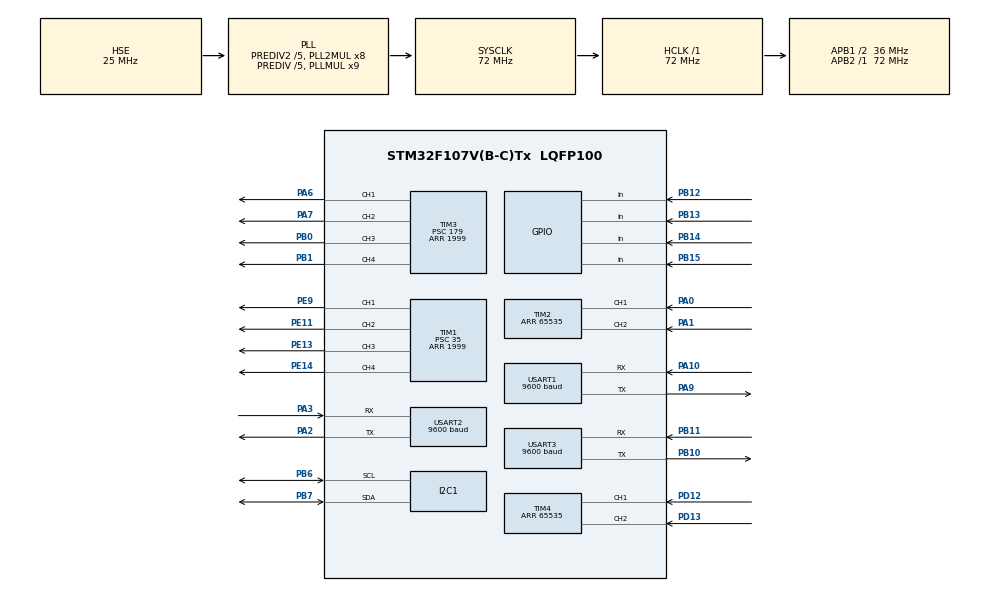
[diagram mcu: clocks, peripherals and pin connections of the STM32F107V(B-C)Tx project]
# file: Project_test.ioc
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I2C1.NoStretchMode=I2C_NOSTRETCH_DISABLE
Mcu.Family=STM32F1
Mcu.Name=STM32F107V(B-C)Tx
Mcu.Package=LQFP100
NVIC.PriorityGroup=NVIC_PRIORITYGROUP_4
NVIC.TIM6_IRQn=true\:1\:0\:true\:false\:true\:true
NVIC.TIM7_IRQn=true\:2\:0\:true\:false\:true\:true
NVIC.USART1_IRQn=true\:3\:0\:true\:false\:true\:true
NVIC.USART2_IRQn=true\:0\:0\:false\:false\:true\:true
NVIC.USART3_IRQn=true\:0\:0\:false\:false\:true\:true
OSC_IN.Mode=HSE-External-Oscillator
OSC_IN.Signal=RCC_OSC_IN
OSC_OUT.Mode=HSE-External-Oscillator
OSC_OUT.Signal=RCC_OSC_OUT
PA0-WKUP.Signal=S_TIM2_CH1_ETR
PA1.Signal=S_TIM2_CH2
PA10.Mode=Asynchronous
PA10.Signal=USART1_RX
PA13.Mode=Serial_Wire
PA13.Signal=SYS_JTMS-SWDIO
PA14.Mode=Serial_Wire
PA14.Signal=SYS_JTCK-SWCLK
PA2.Mode=Asynchronous
PA2.Signal=USART2_TX
PA3.Mode=Asynchronous
PA3.Signal=USART2_RX
PA6.Signal=S_TIM3_CH1
PA7.Signal=S_TIM3_CH2
PA9.Mode=Asynchronous
PA9.Signal=USART1_TX
PB0.Signal=S_TIM3_CH3
PB1.Signal=S_TIM3_CH4
PB10.Mode=Asynchronous
PB10.Signal=USART3_TX
PB11.Mode=Asynchronous
PB11.Signal=USART3_RX
PB12.Signal=GPIO_Input
PB13.Signal=GPIO_Input
PB14.Signal=GPIO_Input
PB15.Signal=GPIO_Input
PB6.GPIO_Mode=GPIO_MODE_AF_OD
PB6.GPIO_Speed=GPIO_SPEED_FREQ_LOW
PB6.Mode=I2C
PB6.Signal=I2C1_SCL
PB7.GPIO_Mode=GPIO_MODE_AF_OD
PB7.GPIO_Speed=GPIO_SPEED_FREQ_LOW
PB7.Mode=I2C
PB7.Signal=I2C1_SDA
PD12.Signal=S_TIM4_CH1
PD13.Signal=S_TIM4_CH2
PE11.Signal=S_TIM1_CH2
PE13.Signal=S_TIM1_CH3
PE14.Signal=S_TIM1_CH4
PE9.Signal=S_TIM1_CH1
ProjectManager.HeapSize=0x200
ProjectManager.StackSize=0x400
ProjectManager.TargetToolchain=MDK-ARM V5
RCC.AHBFreq_Value=72000000
RCC.APB1CLKDivider=RCC_HCLK_DIV2
RCC.APB1Freq_Value=36000000
RCC.APB1TimFreq_Value=72000000
RCC.APB2Freq_Value=72000000
RCC.APB2TimFreq_Value=72000000
RCC.HCLKFreq_Value=72000000
RCC.HSEDivPLL=RCC_HSE_PREDIV_DIV5
RCC.HSE_VALUE=25000000
RCC.PLLMUL=RCC_PLL_MUL9
RCC.PLLSourceVirtual=RCC_PLLSOURCE_HSE
RCC.Prediv1Source=RCC_PREDIV1_SOURCE_PLL2
RCC.Prediv2=RCC_HSE_PREDIV2_DIV5
RCC.SYSCLKFreq_VALUE=72000000
RCC.SYSCLKSource=RCC_SYSCLKSOURCE_PLLCLK
RCC.USBFreq_Value=48000000
SH.S_TIM1_CH1.0=TIM1_CH1,PWM Generation1 CH1
SH.S_TIM1_CH2.0=TIM1_CH2,PWM Generation2 CH2
SH.S_TIM1_CH3.0=TIM1_CH3,PWM Generation3 CH3
SH.S_TIM1_CH4.0=TIM1_CH4,PWM Generation4 CH4
SH.S_TIM2_CH1_ETR.0=TIM2_CH1,Encoder_Interface
SH.S_TIM2_CH2.0=TIM2_CH2,Encoder_Interface
SH.S_TIM3_CH1.0=TIM3_CH1,PWM Generation1 CH1
SH.S_TIM3_CH2.0=TIM3_CH2,PWM Generation2 CH2
SH.S_TIM3_CH3.0=TIM3_CH3,PWM Generation3 CH3
SH.S_TIM3_CH4.0=TIM3_CH4,PWM Generation4 CH4
SH.S_TIM4_CH1.0=TIM4_CH1,Encoder_Interface
SH.S_TIM4_CH2.0=TIM4_CH2,Encoder_Interface
TIM1.Channel-PWM\ Generation1\ CH1=TIM_CHANNEL_1
TIM1.Channel-PWM\ Generation2\ CH2=TIM_CHANNEL_2
TIM1.Channel-PWM\ Generation3\ CH3=TIM_CHANNEL_3
TIM1.Channel-PWM\ Generation4\ CH4=TIM_CHANNEL_4
TIM1.Period=1999
TIM1.Prescaler=35
TIM2.Period=65535
TIM3.Channel-PWM\ Generation1\ CH1=TIM_CHANNEL_1
TIM3.Channel-PWM\ Generation2\ CH2=TIM_CHANNEL_2
TIM3.Channel-PWM\ Generation3\ CH3=TIM_CHANNEL_3
TIM3.Channel-PWM\ Generation4\ CH4=TIM_CHANNEL_4
TIM3.Period=1999
TIM3.Prescaler=179
TIM4.Period=65535
TIM6.Period=9999
TIM6.Prescaler=71
TIM7.Period=9999
TIM7.Prescaler=71
USART1.BaudRate=9600
USART1.VirtualMode=VM_ASYNC
USART2.BaudRate=9600
USART2.VirtualMode=VM_ASYNC
USART3.BaudRate=9600
USART3.VirtualMode=VM_ASYNC
VP_TIM1_VS_ClockSourceINT.Mode=Internal
VP_TIM3_VS_ClockSourceINT.Mode=Internal
VP_TIM6_VS_ClockSourceINT.Mode=Enable_Timer
VP_TIM7_VS_ClockSourceINT.Mode=Enable_Timer
board=custom

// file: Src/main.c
/* USER CODE BEGIN Header */
/**
  ******************************************************************************
  * @file           : main.c
  * @brief          : Main program body
  ******************************************************************************
  ** This notice applies to any and all portions of this file
  * that are not between comment pairs USER CODE BEGIN and
  * USER CODE END. Other portions of this file, whether
  * inserted by the user or by software development tools
  * are owned by their respective copyright owners.
  *
  * COPYRIGHT(c) 2022 STMicroelectronics
  *
  * Redistribution and use in source and binary forms, with or without modification,
  * are permitted provided that the following conditions are met:
  *   1. Redistributions of source code must retain the above copyright notice,
  *      this list of conditions and the following disclaimer.
  *   2. Redistributions in binary form must reproduce the above copyright notice,
  *      this list of conditions and the following disclaimer in the documentation
  *      and/or other materials provided with the distribution.
  *   3. Neither the name of STMicroelectronics nor the names of its contributors
  *      may be used to endorse or promote products derived from this software
  *      without specific prior written permission.
  *
  * THIS SOFTWARE IS PROVIDED BY THE COPYRIGHT HOLDERS AND CONTRIBUTORS "AS IS"
  * AND ANY EXPRESS OR IMPLIED WARRANTIES, INCLUDING, BUT NOT LIMITED TO, THE
  * IMPLIED WARRANTIES OF MERCHANTABILITY AND FITNESS FOR A PARTICULAR PURPOSE ARE
  * DISCLAIMED. IN NO EVENT SHALL THE COPYRIGHT HOLDER OR CONTRIBUTORS BE LIABLE
  * FOR ANY DIRECT, INDIRECT, INCIDENTAL, SPECIAL, EXEMPLARY, OR CONSEQUENTIAL
  * DAMAGES (INCLUDING, BUT NOT LIMITED TO, PROCUREMENT OF SUBSTITUTE GOODS OR
  * SERVICES; LOSS OF USE, DATA, OR PROFITS; OR BUSINESS INTERRUPTION) HOWEVER
  * CAUSED AND ON ANY THEORY OF LIABILITY, WHETHER IN CONTRACT, STRICT LIABILITY,
  * OR TORT (INCLUDING NEGLIGENCE OR OTHERWISE) ARISING IN ANY WAY OUT OF THE USE
  * OF THIS SOFTWARE, EVEN IF ADVISED OF THE POSSIBILITY OF SUCH DAMAGE.
  *
  ******************************************************************************
  */
/* USER CODE END Header */

#include "main.h"
#include "i2c.h"
#include "tim.h"
#include "usart.h"
#include "gpio.h"

/* USER CODE BEGIN Includes */
#include "task_attitude.h"
#include "task_motor.h"
#include "task_hanging.h"
#include "driver_mpu6050.h"
#include "driver_motor.h"
#include "driver_hanging.h"
/* USER CODE END Includes */

void SystemClock_Config(void);

/* USER CODE BEGIN 0 */
extern MPU6050DATATYPE Mpu6050_Data;
extern MPU6050_ANGLETYPE MPU6050_Angle;
extern uint8_t RX;
extern uint8_t rx;
/* USER CODE END 0 */

int main(void)
{

  /* MCU Configuration--------------------------------------------------------*/

  /* Reset of all peripherals, Initializes the Flash interface and the Systick. */
  HAL_Init();

  /* Configure the system clock */
  SystemClock_Config();

  /* Initialize all configured peripherals */
  MX_GPIO_Init();
  MX_I2C1_Init();
  MX_TIM3_Init();
  MX_TIM6_Init();
  MX_TIM2_Init();
  MX_TIM1_Init();
  MX_USART1_UART_Init();
  MX_TIM7_Init();
  MX_TIM4_Init();
  MX_USART2_UART_Init();
  MX_USART3_UART_Init();
  /* USER CODE BEGIN 2 */
	//__HAL_TIM_CLEAR_FLAG(&htim7,TIM_FLAG_UPDATE);
	HAL_TIM_Base_Start_IT(&htim7);                       //开启定时器中断
  /* USER CODE END 2 */

  /* Infinite loop */
  /* USER CODE BEGIN WHILE */
	MPU6050_Init(Sensor_I2C1_Serch()); 	//初始化IIC总线
	Motor_Init();
	Hanging_Init();
	HAL_UART_Receive_IT(&huart2,&RX,1);
	//mpu_dmp_init();
  while (1)
  {
    /* USER CODE END WHILE */

    /* USER CODE BEGIN 3 */

		Task_attitude_sol();
	  Task_motor();
		Task_hanging();
		HAL_Delay(5);
  }
  /* USER CODE END 3 */
}

void SystemClock_Config(void)
{
  RCC_OscInitTypeDef RCC_OscInitStruct = {0};
  RCC_ClkInitTypeDef RCC_ClkInitStruct = {0};

  /**Initializes the CPU, AHB and APB busses clocks
  */
  RCC_OscInitStruct.OscillatorType = RCC_OSCILLATORTYPE_HSE;
  RCC_OscInitStruct.HSEState = RCC_HSE_ON;
  RCC_OscInitStruct.HSEPredivValue = RCC_HSE_PREDIV_DIV5;
  RCC_OscInitStruct.HSIState = RCC_HSI_ON;
  RCC_OscInitStruct.Prediv1Source = RCC_PREDIV1_SOURCE_PLL2;
  RCC_OscInitStruct.PLL.PLLState = RCC_PLL_ON;
  RCC_OscInitStruct.PLL.PLLSource = RCC_PLLSOURCE_HSE;
  RCC_OscInitStruct.PLL.PLLMUL = RCC_PLL_MUL9;
  RCC_OscInitStruct.PLL2.PLL2State = RCC_PLL2_ON;
  RCC_OscInitStruct.PLL2.PLL2MUL = RCC_PLL2_MUL8;
  RCC_OscInitStruct.PLL2.HSEPrediv2Value = RCC_HSE_PREDIV2_DIV5;
  if (HAL_RCC_OscConfig(&RCC_OscInitStruct) != HAL_OK)
  {
    Error_Handler();
  }
  /**Initializes the CPU, AHB and APB busses clocks
  */
  RCC_ClkInitStruct.ClockType = RCC_CLOCKTYPE_HCLK|RCC_CLOCKTYPE_SYSCLK
                              |RCC_CLOCKTYPE_PCLK1|RCC_CLOCKTYPE_PCLK2;
  RCC_ClkInitStruct.SYSCLKSource = RCC_SYSCLKSOURCE_PLLCLK;
  RCC_ClkInitStruct.AHBCLKDivider = RCC_SYSCLK_DIV1;
  RCC_ClkInitStruct.APB1CLKDivider = RCC_HCLK_DIV2;
  RCC_ClkInitStruct.APB2CLKDivider = RCC_HCLK_DIV1;

  if (HAL_RCC_ClockConfig(&RCC_ClkInitStruct, FLASH_LATENCY_2) != HAL_OK)
  {
    Error_Handler();
  }
  /**Configure the Systick interrupt time
  */
  __HAL_RCC_PLLI2S_ENABLE();
}

void Error_Handler(void)
{
}

/************************ (C) COPYRIGHT STMicroelectronics *****END OF FILE****/
